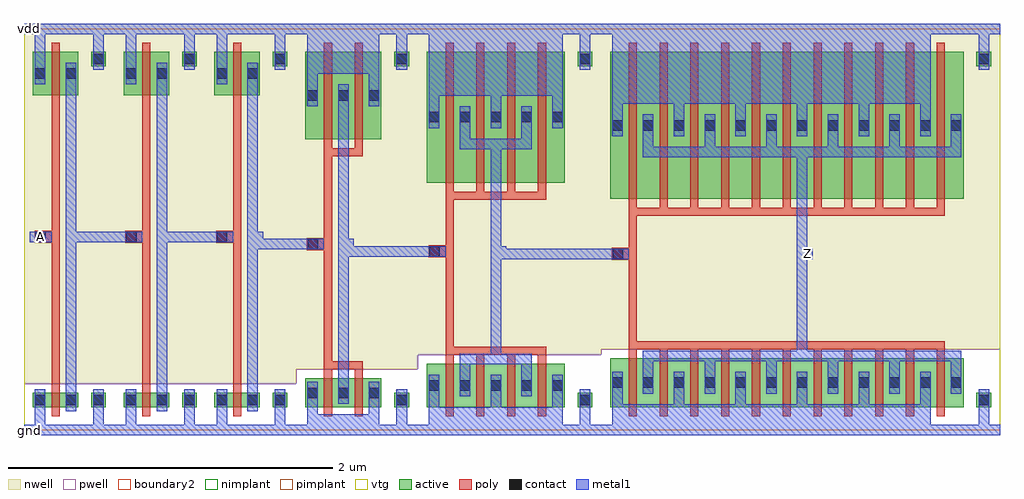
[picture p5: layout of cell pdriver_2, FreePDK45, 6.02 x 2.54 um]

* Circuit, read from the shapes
.subckt pdriver_2 A Z gnd vdd
M1 pinv_9_1/A A gnd gnd nfet w=0.09u l=0.05u
M2 pinv_9_2/A pinv_9_1/A gnd gnd nfet w=0.09u l=0.05u
M3 pinv_8_3/A pinv_9_2/A gnd gnd nfet w=0.09u l=0.05u
M4 pinv_12_4/A pinv_8_3/A gnd gnd nfet w=0.18u l=0.05u m=2
M5 pinv_13_5/A pinv_12_4/A gnd gnd nfet w=0.27u l=0.05u m=4
M6 Z pinv_13_5/A gnd gnd nfet w=0.3025u l=0.05u m=11
M7 pinv_9_1/A A vdd vdd pfet w=0.27u l=0.05u
M8 pinv_9_2/A pinv_9_1/A vdd vdd pfet w=0.27u l=0.05u
M9 pinv_8_3/A pinv_9_2/A vdd vdd pfet w=0.27u l=0.05u
M10 pinv_12_4/A pinv_8_3/A vdd vdd pfet w=0.54u l=0.05u m=2
M11 pinv_13_5/A pinv_12_4/A vdd vdd pfet w=0.81u l=0.05u m=4
M12 Z pinv_13_5/A vdd vdd pfet w=0.9075u l=0.05u m=11
.ends

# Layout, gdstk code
import gdstk
lib = gdstk.Library(unit=1e-6, precision=5e-10)
def R(c, l, rs):  # rectangles x0, y0, x1, y1
    for r in rs: c.add(gdstk.rectangle(r[:2], r[2:], *l))
def A(c, l, x, y, w, h, nx, ny, dx, dy):  # array of equal rectangles
    R(c, l, [(x+i*dx, y+j*dy, x+i*dx+w, y+j*dy+h) for i in range(nx) for j in range(ny)])
active = (1, 0)
pwell = (2, 0)
nwell = (3, 0)
nimplant = (4, 0)
pimplant = (5, 0)
vtg = (6, 0)
poly = (9, 0)
contact = (10, 0)
metal1 = (11, 0)
boundary2 = (239, 0)

contact_9 = lib.new_cell('contact_9')
R(contact_9, active, [(0,0.0225,0.09,0.1125)])
R(contact_9, nwell, [(-0.055,-0.0325,0.145,0.1675)])
R(contact_9, pimplant, [(0,0.0225,0.09,0.1125)])
R(contact_9, contact, [(0.0125,0.035,0.0775,0.1)])
R(contact_9, metal1, [(0.0125,0,0.0775,0.135)])

pmos_m1_w0_270_a_p = lib.new_cell('pmos_m1_w0_270_a_p')
R(pmos_m1_w0_270_a_p, active, [(0,0,0.28,0.27)])
R(pmos_m1_w0_270_a_p, nwell, [(-0.055,-0.055,0.335,0.325)])
R(pmos_m1_w0_270_a_p, pimplant, [(0,0,0.28,0.27)])
R(pmos_m1_w0_270_a_p, vtg, [(-0.055,-0.055,0.335,0.325)])
R(pmos_m1_w0_270_a_p, poly, [(0.115,-0.055,0.165,0.325), (0.115,-0.055,0.165,0.325)])
R(pmos_m1_w0_270_a_p, metal1, [(0.0125,0.0675,0.0775,0.2025), (0.2025,0.0675,0.2675,0.2025)])
pmos_m1_w0_270_a_p.add(gdstk.Reference(contact_9, (0,0.0675)))
pmos_m1_w0_270_a_p.add(gdstk.Reference(contact_9, (0.19,0.0675)))
pmos_m1_w0_270_a_p.add(gdstk.Label('G', (0.14,0.135), layer=9, texttype=0))
pmos_m1_w0_270_a_p.add(gdstk.Label('S', (0.045,0.135), layer=11, texttype=0))
pmos_m1_w0_270_a_p.add(gdstk.Label('D', (0.235,0.135), layer=11, texttype=0))

contact_14 = lib.new_cell('contact_14')
R(contact_14, active, [(0,0.0225,0.09,0.1125)])
R(contact_14, pwell, [(-0.055,-0.0325,0.145,0.1675)])
R(contact_14, nimplant, [(0,0.0225,0.09,0.1125)])
R(contact_14, contact, [(0.0125,0.035,0.0775,0.1)])
R(contact_14, metal1, [(0.0125,0,0.0775,0.135)])

nmos_m1_w0_090_a_p = lib.new_cell('nmos_m1_w0_090_a_p')
R(nmos_m1_w0_090_a_p, active, [(0,0,0.28,0.09)])
R(nmos_m1_w0_090_a_p, pwell, [(-0.055,-0.055,0.335,0.145)])
R(nmos_m1_w0_090_a_p, nimplant, [(0,0,0.28,0.09)])
R(nmos_m1_w0_090_a_p, vtg, [(-0.055,-0.055,0.335,0.145)])
R(nmos_m1_w0_090_a_p, poly, [(0.115,-0.055,0.165,0.145), (0.115,-0.055,0.165,0.145)])
R(nmos_m1_w0_090_a_p, metal1, [(0.0125,-0.0225,0.0775,0.1125), (0.2025,-0.0225,0.2675,0.1125)])
nmos_m1_w0_090_a_p.add(gdstk.Reference(contact_14, (0,-0.0225)))
nmos_m1_w0_090_a_p.add(gdstk.Reference(contact_14, (0.19,-0.0225)))
nmos_m1_w0_090_a_p.add(gdstk.Label('G', (0.14,0.045), layer=9, texttype=0))
nmos_m1_w0_090_a_p.add(gdstk.Label('S', (0.045,0.045), layer=11, texttype=0))
nmos_m1_w0_090_a_p.add(gdstk.Label('D', (0.235,0.045), layer=11, texttype=0))

contact_18 = lib.new_cell('contact_18')
R(contact_18, active, [(0,0.0225,0.09,0.1125)])
R(contact_18, nwell, [(-0.055,-0.0325,0.145,0.1675)])
R(contact_18, nimplant, [(0,0.0225,0.09,0.1125)])
R(contact_18, contact, [(0.0125,0.035,0.0775,0.1)])
R(contact_18, metal1, [(0.0125,0,0.0775,0.135)])

contact_19 = lib.new_cell('contact_19')
R(contact_19, active, [(0,0.0225,0.09,0.1125)])
R(contact_19, pwell, [(-0.055,-0.0325,0.145,0.1675)])
R(contact_19, pimplant, [(0,0.0225,0.09,0.1125)])
R(contact_19, contact, [(0.0125,0.035,0.0775,0.1)])
R(contact_19, metal1, [(0.0125,0,0.0775,0.135)])

contact_10 = lib.new_cell('contact_10')
R(contact_10, poly, [(0.03,0,0.105,0.075)])
R(contact_10, contact, [(0.035,0.005,0.1,0.07)])
R(contact_10, metal1, [(0,0.005,0.135,0.07)])

pinv_9 = lib.new_cell('pinv_9')
R(pinv_9, pwell, [(0,-0.0325,0.56,0.285)])
R(pinv_9, nwell, [(0,0.285,0.56,2.5075)])
R(pinv_9, vtg, [(0,-0.0325,0.56,0.285), (0,0.285,0.56,2.5075)])
R(pinv_9, poly, [(0.17,0.085,0.22,2.01), (0.1025,1.155,0.17,1.23)])
R(pinv_9, metal1, [(0,-0.0325,0.56,0.0325), (0.0675,-0.0325,0.1325,0.1175), (0.4275,0,0.4925,0.185), (0.2575,0.1175,0.3225,2.2675), (0.035,1.16,0.17,1.225), (0.29,1.16,0.355,1.225), (0.0675,2.1325,0.1325,2.5075), (0.4275,2.29,0.4925,2.475), (0,2.4425,0.56,2.5075)])
R(pinv_9, boundary2, [(0,0,0.56,2.475)])
pinv_9.add(gdstk.Reference(pmos_m1_w0_270_a_p, (0.055,2.065)))
pinv_9.add(gdstk.Reference(nmos_m1_w0_090_a_p, (0.055,0.14)))
pinv_9.add(gdstk.Reference(contact_18, (0.415,2.2225)))
pinv_9.add(gdstk.Reference(contact_19, (0.415,0.1175)))
pinv_9.add(gdstk.Reference(contact_10, (0.035,1.155)))
pinv_9.add(gdstk.Label('gnd', (0.28,0), layer=11, texttype=0))
pinv_9.add(gdstk.Label('vdd', (0.28,2.475), layer=11, texttype=0))
pinv_9.add(gdstk.Label('A', (0.1025,1.1925), layer=11, texttype=0))
pinv_9.add(gdstk.Label('Z', (0.3225,1.1925), layer=11, texttype=0))

pmos_m2_w0_540_a_p = lib.new_cell('pmos_m2_w0_540_a_p')
R(pmos_m2_w0_540_a_p, active, [(0,0,0.47,0.54)])
R(pmos_m2_w0_540_a_p, nwell, [(-0.055,-0.055,0.525,0.595)])
R(pmos_m2_w0_540_a_p, pimplant, [(0,0,0.47,0.54)])
R(pmos_m2_w0_540_a_p, vtg, [(-0.055,-0.055,0.525,0.595)])
R(pmos_m2_w0_540_a_p, poly, [(0.115,-0.105,0.355,-0.055), (0.115,-0.055,0.165,0.595), (0.305,-0.055,0.355,0.595)])
R(pmos_m2_w0_540_a_p, metal1, [(0.2025,0.2025,0.2675,0.3375), (0.0125,0.27,0.0775,0.435), (0.3925,0.27,0.4575,0.435), (0.0125,0.4025,0.4575,0.4675)])
pmos_m2_w0_540_a_p.add(gdstk.Reference(contact_9, (0,0.2025)))
pmos_m2_w0_540_a_p.add(gdstk.Reference(contact_9, (0.38,0.2025)))
pmos_m2_w0_540_a_p.add(gdstk.Reference(contact_9, (0.19,0.2025)))
pmos_m2_w0_540_a_p.add(gdstk.Label('G', (0.235,-0.08), layer=9, texttype=0))
pmos_m2_w0_540_a_p.add(gdstk.Label('S', (0.235,0.435), layer=11, texttype=0))
pmos_m2_w0_540_a_p.add(gdstk.Label('D', (0.235,0.27), layer=11, texttype=0))

nmos_m2_w0_180_a_p = lib.new_cell('nmos_m2_w0_180_a_p')
R(nmos_m2_w0_180_a_p, active, [(0,0,0.47,0.18)])
R(nmos_m2_w0_180_a_p, pwell, [(-0.055,-0.055,0.525,0.235)])
R(nmos_m2_w0_180_a_p, nimplant, [(0,0,0.47,0.18)])
R(nmos_m2_w0_180_a_p, vtg, [(-0.055,-0.055,0.525,0.235)])
R(nmos_m2_w0_180_a_p, poly, [(0.115,-0.055,0.165,0.235), (0.305,-0.055,0.355,0.235), (0.115,0.235,0.355,0.285)])
R(nmos_m2_w0_180_a_p, metal1, [(0.0125,-0.1075,0.4575,-0.0425), (0.0125,-0.075,0.0775,0.09), (0.3925,-0.075,0.4575,0.09), (0.2025,0.0225,0.2675,0.1575)])
nmos_m2_w0_180_a_p.add(gdstk.Reference(contact_14, (0,0.0225)))
nmos_m2_w0_180_a_p.add(gdstk.Reference(contact_14, (0.38,0.0225)))
nmos_m2_w0_180_a_p.add(gdstk.Reference(contact_14, (0.19,0.0225)))
nmos_m2_w0_180_a_p.add(gdstk.Label('G', (0.235,0.26), layer=9, texttype=0))
nmos_m2_w0_180_a_p.add(gdstk.Label('S', (0.235,-0.075), layer=11, texttype=0))
nmos_m2_w0_180_a_p.add(gdstk.Label('D', (0.235,0.09), layer=11, texttype=0))

pinv_8 = lib.new_cell('pinv_8')
R(pinv_8, pwell, [(0,-0.0325,0.75,0.375)])
R(pinv_8, nwell, [(0,0.375,0.75,2.5075)])
R(pinv_8, vtg, [(0,-0.0325,0.75,0.375), (0,0.375,0.75,2.5075)])
R(pinv_8, poly, [(0.17,0.375,0.22,1.69), (0.1025,1.11,0.17,1.185)])
R(pinv_8, metal1, [(0,-0.0325,0.75,0.0325), (0.0675,-0.0325,0.5125,0.0325), (0.6175,0,0.6825,0.185), (0.2575,0.1625,0.3225,2.1325), (0.035,1.115,0.17,1.18), (0.29,1.115,0.355,1.18), (0.0675,2.1975,0.5125,2.5075), (0.6175,2.29,0.6825,2.475), (0,2.4425,0.75,2.5075)])
R(pinv_8, boundary2, [(0,0,0.75,2.475)])
pinv_8.add(gdstk.Reference(pmos_m2_w0_540_a_p, (0.055,1.795)))
pinv_8.add(gdstk.Reference(nmos_m2_w0_180_a_p, (0.055,0.14)))
pinv_8.add(gdstk.Reference(contact_18, (0.605,2.2225)))
pinv_8.add(gdstk.Reference(contact_19, (0.605,0.1175)))
pinv_8.add(gdstk.Reference(contact_10, (0.035,1.11)))
pinv_8.add(gdstk.Label('gnd', (0.375,0), layer=11, texttype=0))
pinv_8.add(gdstk.Label('vdd', (0.375,2.475), layer=11, texttype=0))
pinv_8.add(gdstk.Label('A', (0.1025,1.1475), layer=11, texttype=0))
pinv_8.add(gdstk.Label('Z', (0.3225,1.1475), layer=11, texttype=0))

pmos_m4_w0_810_a_p = lib.new_cell('pmos_m4_w0_810_a_p')
R(pmos_m4_w0_810_a_p, active, [(0,0,0.85,0.81)])
R(pmos_m4_w0_810_a_p, nwell, [(-0.055,-0.055,0.905,0.865)])
R(pmos_m4_w0_810_a_p, pimplant, [(0,0,0.85,0.81)])
R(pmos_m4_w0_810_a_p, vtg, [(-0.055,-0.055,0.905,0.865)])
A(pmos_m4_w0_810_a_p, poly, 0.115, -0.055, 0.05, 0.92, 4, 1, 0.19, 0)
R(pmos_m4_w0_810_a_p, poly, [(0.115,-0.105,0.735,-0.055)])
A(pmos_m4_w0_810_a_p, metal1, 0.0125, 0.405, 0.065, 0.165, 3, 1, 0.38, 0)
R(pmos_m4_w0_810_a_p, metal1, [(0.2025,0.2075,0.6475,0.2725), (0.2025,0.24,0.2675,0.405), (0.5825,0.24,0.6475,0.405), (0.0125,0.5375,0.8375,0.6025)])
pmos_m4_w0_810_a_p.add(gdstk.Reference(contact_9, (0,0.3375)))
pmos_m4_w0_810_a_p.add(gdstk.Reference(contact_9, (0.38,0.3375)))
pmos_m4_w0_810_a_p.add(gdstk.Reference(contact_9, (0.76,0.3375)))
pmos_m4_w0_810_a_p.add(gdstk.Reference(contact_9, (0.19,0.3375)))
pmos_m4_w0_810_a_p.add(gdstk.Reference(contact_9, (0.57,0.3375)))
pmos_m4_w0_810_a_p.add(gdstk.Label('G', (0.425,-0.08), layer=9, texttype=0))
pmos_m4_w0_810_a_p.add(gdstk.Label('S', (0.425,0.57), layer=11, texttype=0))
pmos_m4_w0_810_a_p.add(gdstk.Label('D', (0.425,0.24), layer=11, texttype=0))

nmos_m4_w0_270_a_p = lib.new_cell('nmos_m4_w0_270_a_p')
R(nmos_m4_w0_270_a_p, active, [(0,0,0.85,0.27)])
R(nmos_m4_w0_270_a_p, pwell, [(-0.055,-0.055,0.905,0.325)])
R(nmos_m4_w0_270_a_p, nimplant, [(0,0,0.85,0.27)])
R(nmos_m4_w0_270_a_p, vtg, [(-0.055,-0.055,0.905,0.325)])
A(nmos_m4_w0_270_a_p, poly, 0.115, -0.055, 0.05, 0.38, 4, 1, 0.19, 0)
R(nmos_m4_w0_270_a_p, poly, [(0.115,0.325,0.735,0.375)])
A(nmos_m4_w0_270_a_p, metal1, 0.0125, -0.03, 0.065, 0.165, 3, 1, 0.38, 0)
R(nmos_m4_w0_270_a_p, metal1, [(0.0125,-0.0625,0.8375,0.0025), (0.2025,0.135,0.2675,0.3), (0.5825,0.135,0.6475,0.3), (0.2025,0.2675,0.6475,0.3325)])
nmos_m4_w0_270_a_p.add(gdstk.Reference(contact_14, (0,0.0675)))
nmos_m4_w0_270_a_p.add(gdstk.Reference(contact_14, (0.38,0.0675)))
nmos_m4_w0_270_a_p.add(gdstk.Reference(contact_14, (0.76,0.0675)))
nmos_m4_w0_270_a_p.add(gdstk.Reference(contact_14, (0.19,0.0675)))
nmos_m4_w0_270_a_p.add(gdstk.Reference(contact_14, (0.57,0.0675)))
nmos_m4_w0_270_a_p.add(gdstk.Label('G', (0.425,0.35), layer=9, texttype=0))
nmos_m4_w0_270_a_p.add(gdstk.Label('S', (0.425,-0.03), layer=11, texttype=0))
nmos_m4_w0_270_a_p.add(gdstk.Label('D', (0.425,0.3), layer=11, texttype=0))

pinv_12 = lib.new_cell('pinv_12')
R(pinv_12, pwell, [(0,-0.0325,1.13,0.465)])
R(pinv_12, nwell, [(0,0.465,1.13,2.5075)])
R(pinv_12, vtg, [(0,-0.0325,1.13,0.465), (0,0.465,1.13,2.5075)])
R(pinv_12, poly, [(0.17,0.465,0.22,1.42), (0.1025,1.065,0.17,1.14)])
R(pinv_12, metal1, [(0,-0.0325,1.13,0.0325), (0.0675,-0.0325,0.8925,0.0775), (0.9975,0,1.0625,0.185), (0.4475,0.4075,0.5125,1.7975), (0.035,1.07,0.17,1.135), (0.48,1.07,0.545,1.135), (0.0675,2.0625,0.8925,2.5075), (0.9975,2.29,1.0625,2.475), (0,2.4425,1.13,2.5075)])
R(pinv_12, boundary2, [(0,0,1.13,2.475)])
pinv_12.add(gdstk.Reference(pmos_m4_w0_810_a_p, (0.055,1.525)))
pinv_12.add(gdstk.Reference(nmos_m4_w0_270_a_p, (0.055,0.14)))
pinv_12.add(gdstk.Reference(contact_18, (0.985,2.2225)))
pinv_12.add(gdstk.Reference(contact_19, (0.985,0.1175)))
pinv_12.add(gdstk.Reference(contact_10, (0.035,1.065)))
pinv_12.add(gdstk.Label('gnd', (0.565,0), layer=11, texttype=0))
pinv_12.add(gdstk.Label('vdd', (0.565,2.475), layer=11, texttype=0))
pinv_12.add(gdstk.Label('A', (0.1025,1.1025), layer=11, texttype=0))
pinv_12.add(gdstk.Label('Z', (0.5125,1.1025), layer=11, texttype=0))

pmos_m11_w0_907_a_p = lib.new_cell('pmos_m11_w0_907_a_p')
R(pmos_m11_w0_907_a_p, active, [(0,0,2.18,0.9075)])
R(pmos_m11_w0_907_a_p, nwell, [(-0.055,-0.055,2.235,0.9625)])
R(pmos_m11_w0_907_a_p, pimplant, [(0,0,2.18,0.9075)])
R(pmos_m11_w0_907_a_p, vtg, [(-0.055,-0.055,2.235,0.9625)])
A(pmos_m11_w0_907_a_p, poly, 0.115, -0.055, 0.05, 1.0175, 11, 1, 0.19, 0)
R(pmos_m11_w0_907_a_p, poly, [(0.115,-0.105,2.065,-0.055)])
A(pmos_m11_w0_907_a_p, metal1, 0.2025, 0.29, 0.065, 0.165, 6, 1, 0.38, 0)
A(pmos_m11_w0_907_a_p, metal1, 0.0125, 0.455, 0.065, 0.165, 6, 1, 0.38, 0)
R(pmos_m11_w0_907_a_p, metal1, [(0.2025,0.255,2.1675,0.32), (0.0125,0.585,1.9775,0.65)])
pmos_m11_w0_907_a_p.add(gdstk.Reference(contact_9, (0,0.385)))
pmos_m11_w0_907_a_p.add(gdstk.Reference(contact_9, (0.38,0.385)))
pmos_m11_w0_907_a_p.add(gdstk.Reference(contact_9, (0.76,0.385)))
pmos_m11_w0_907_a_p.add(gdstk.Reference(contact_9, (1.14,0.385)))
pmos_m11_w0_907_a_p.add(gdstk.Reference(contact_9, (1.52,0.385)))
pmos_m11_w0_907_a_p.add(gdstk.Reference(contact_9, (1.9,0.385)))
pmos_m11_w0_907_a_p.add(gdstk.Reference(contact_9, (0.19,0.385)))
pmos_m11_w0_907_a_p.add(gdstk.Reference(contact_9, (0.57,0.385)))
pmos_m11_w0_907_a_p.add(gdstk.Reference(contact_9, (0.95,0.385)))
pmos_m11_w0_907_a_p.add(gdstk.Reference(contact_9, (1.33,0.385)))
pmos_m11_w0_907_a_p.add(gdstk.Reference(contact_9, (1.71,0.385)))
pmos_m11_w0_907_a_p.add(gdstk.Reference(contact_9, (2.09,0.385)))
pmos_m11_w0_907_a_p.add(gdstk.Label('G', (1.09,-0.08), layer=9, texttype=0))
pmos_m11_w0_907_a_p.add(gdstk.Label('S', (0.995,0.6175), layer=11, texttype=0))
pmos_m11_w0_907_a_p.add(gdstk.Label('D', (1.185,0.2875), layer=11, texttype=0))

nmos_m11_w0_302_a_p = lib.new_cell('nmos_m11_w0_302_a_p')
R(nmos_m11_w0_302_a_p, active, [(0,0,2.18,0.3025)])
R(nmos_m11_w0_302_a_p, pwell, [(-0.055,-0.055,2.235,0.3575)])
R(nmos_m11_w0_302_a_p, nimplant, [(0,0,2.18,0.3025)])
R(nmos_m11_w0_302_a_p, vtg, [(-0.055,-0.055,2.235,0.3575)])
A(nmos_m11_w0_302_a_p, poly, 0.115, -0.055, 0.05, 0.4125, 11, 1, 0.19, 0)
R(nmos_m11_w0_302_a_p, poly, [(0.115,0.3575,2.065,0.4075)])
A(nmos_m11_w0_302_a_p, metal1, 0.0125, -0.015, 0.065, 0.165, 6, 1, 0.38, 0)
A(nmos_m11_w0_302_a_p, metal1, 0.2025, 0.15, 0.065, 0.165, 6, 1, 0.38, 0)
R(nmos_m11_w0_302_a_p, metal1, [(0.0125,-0.045,1.9775,0.02), (0.2025,0.285,2.1675,0.35)])
nmos_m11_w0_302_a_p.add(gdstk.Reference(contact_14, (0,0.085)))
nmos_m11_w0_302_a_p.add(gdstk.Reference(contact_14, (0.38,0.085)))
nmos_m11_w0_302_a_p.add(gdstk.Reference(contact_14, (0.76,0.085)))
nmos_m11_w0_302_a_p.add(gdstk.Reference(contact_14, (1.14,0.085)))
nmos_m11_w0_302_a_p.add(gdstk.Reference(contact_14, (1.52,0.085)))
nmos_m11_w0_302_a_p.add(gdstk.Reference(contact_14, (1.9,0.085)))
nmos_m11_w0_302_a_p.add(gdstk.Reference(contact_14, (0.19,0.085)))
nmos_m11_w0_302_a_p.add(gdstk.Reference(contact_14, (0.57,0.085)))
nmos_m11_w0_302_a_p.add(gdstk.Reference(contact_14, (0.95,0.085)))
nmos_m11_w0_302_a_p.add(gdstk.Reference(contact_14, (1.33,0.085)))
nmos_m11_w0_302_a_p.add(gdstk.Reference(contact_14, (1.71,0.085)))
nmos_m11_w0_302_a_p.add(gdstk.Reference(contact_14, (2.09,0.085)))
nmos_m11_w0_302_a_p.add(gdstk.Label('G', (1.09,0.3825), layer=9, texttype=0))
nmos_m11_w0_302_a_p.add(gdstk.Label('S', (0.995,-0.0125), layer=11, texttype=0))
nmos_m11_w0_302_a_p.add(gdstk.Label('D', (1.185,0.3175), layer=11, texttype=0))

pinv_13 = lib.new_cell('pinv_13')
R(pinv_13, pwell, [(0,-0.0325,2.46,0.4975)])
R(pinv_13, nwell, [(0,0.4975,2.46,2.5075)])
R(pinv_13, vtg, [(0,-0.0325,2.46,0.4975), (0,0.4975,2.46,2.5075)])
R(pinv_13, poly, [(0.17,0.4975,0.22,1.3225), (0.1025,1.05,0.17,1.125)])
R(pinv_13, metal1, [(0,-0.0325,2.46,0.0325), (0.0675,-0.0325,2.0325,0.095), (2.3275,0,2.3925,0.185), (1.2075,0.425,1.2725,1.7475), (0.035,1.055,0.17,1.12), (1.24,1.055,1.305,1.12), (0.0675,2.0125,2.0325,2.5075), (2.3275,2.29,2.3925,2.475), (0,2.4425,2.46,2.5075)])
R(pinv_13, boundary2, [(0,0,2.46,2.475)])
pinv_13.add(gdstk.Reference(pmos_m11_w0_907_a_p, (0.055,1.4275)))
pinv_13.add(gdstk.Reference(nmos_m11_w0_302_a_p, (0.055,0.14)))
pinv_13.add(gdstk.Reference(contact_18, (2.315,2.2225)))
pinv_13.add(gdstk.Reference(contact_19, (2.315,0.1175)))
pinv_13.add(gdstk.Reference(contact_10, (0.035,1.05)))
pinv_13.add(gdstk.Label('gnd', (1.23,0), layer=11, texttype=0))
pinv_13.add(gdstk.Label('vdd', (1.23,2.475), layer=11, texttype=0))
pinv_13.add(gdstk.Label('A', (0.1025,1.0875), layer=11, texttype=0))
pinv_13.add(gdstk.Label('Z', (1.2725,1.0875), layer=11, texttype=0))

pdriver_2 = lib.new_cell('pdriver_2')
R(pdriver_2, metal1, [(0,-0.0325,0.065,0.0325), (2.91,1.055,2.975,1.12), (2.9425,1.055,3.6625,1.12), (4.8,1.055,4.865,1.12), (1.97,1.07,2.035,1.135), (2.0025,1.07,2.5325,1.135), (2.91,1.0875,2.975,1.1025), (1.97,1.1025,2.035,1.1475), (1.41,1.115,1.475,1.18), (1.4425,1.115,1.7825,1.18), (1.41,1.1475,1.475,1.1925), (0.035,1.16,0.17,1.225), (0.3225,1.16,0.6625,1.225), (0.8825,1.16,1.2225,1.225), (0,2.4425,0.065,2.5075)])
R(pdriver_2, boundary2, [(0,0,6.02,2.475)])
pdriver_2.add(gdstk.Reference(pinv_9, (0,0)))
pdriver_2.add(gdstk.Reference(pinv_9, (0.56,0)))
pdriver_2.add(gdstk.Reference(pinv_9, (1.12,0)))
pdriver_2.add(gdstk.Reference(pinv_8, (1.68,0)))
pdriver_2.add(gdstk.Reference(pinv_12, (2.43,0)))
pdriver_2.add(gdstk.Reference(pinv_13, (3.56,0)))
pdriver_2.add(gdstk.Label('vdd', (0.0325,2.475), layer=11, texttype=0))
pdriver_2.add(gdstk.Label('gnd', (0.0325,0), layer=11, texttype=0))
pdriver_2.add(gdstk.Label('Z', (4.8325,1.0875), layer=11, texttype=0))
pdriver_2.add(gdstk.Label('A', (0.1025,1.1925), layer=11, texttype=0))

lib.write_gds('pdriver_2.gds')
